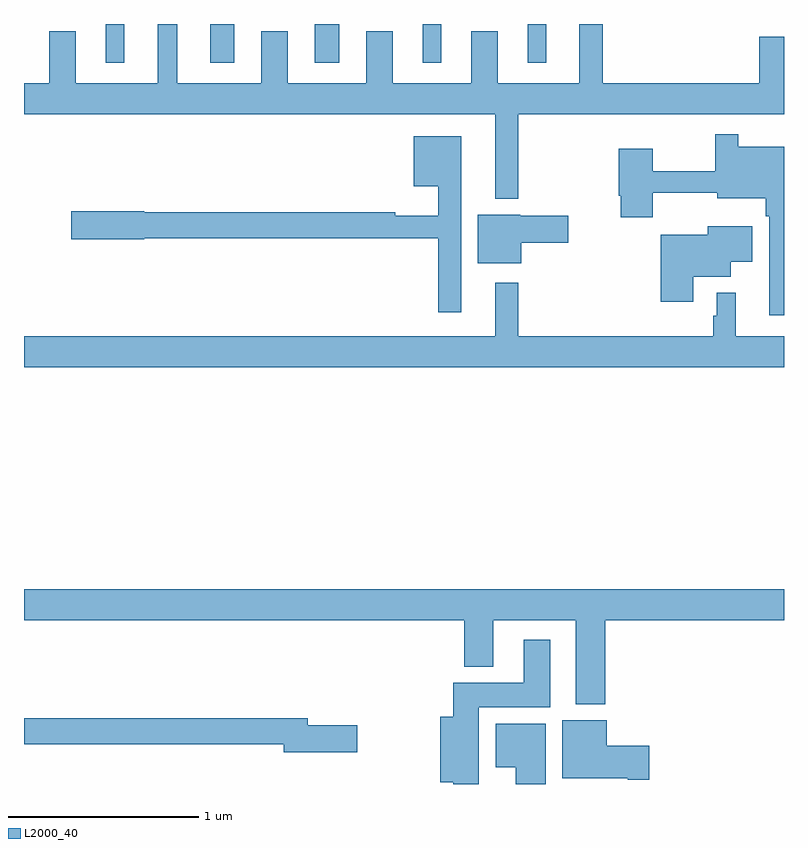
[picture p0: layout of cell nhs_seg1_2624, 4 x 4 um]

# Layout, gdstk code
import gdstk
lib = gdstk.Library(unit=1e-6, precision=1e-09)
def R(c, l, rs):  # rectangles x0, y0, x1, y1
    for r in rs: c.add(gdstk.rectangle(r[:2], r[2:], *l))
def P(c, l, *ps):  # polygons
    for p in ps: c.add(gdstk.Polygon(p, *l))
L2000_40 = (2000, 40)

nhs_seg1_2624 = lib.new_cell('nhs_seg1_2624')
R(nhs_seg1_2624, L2000_40, [(253.43,559.995,253.528,560.199), (253.979,559.995,254.107,560.199), (254.531,559.995,254.659,560.199), (255.098,559.995,255.196,560.199), (255.65,559.995,255.748,560.199)])
P(nhs_seg1_2624, L2000_40, [(255.479,559.28),(255.601,559.28),(255.601,559.724),(257,559.724),(257,560.131),(256.871,560.131),(256.871,559.888),(256.045,559.888),(256.045,560.199),(255.923,560.199),(255.923,559.888),(255.493,559.888),(255.493,560.161),(255.353,560.161),(255.353,559.888),(254.941,559.888),(254.941,560.161),(254.801,560.161),(254.801,559.888),(254.389,559.888),(254.389,560.161),(254.249,560.161),(254.249,559.888),(253.807,559.888),(253.807,560.199),(253.703,560.199),(253.703,559.888),(253.273,559.888),(253.273,560.161),(253.133,560.161),(253.133,559.888),(253,559.888),(253,559.724),(255.479,559.724)],
  [(257,559.552),(256.759,559.552),(256.759,559.618),(256.638,559.618),(256.638,559.423),(256.308,559.423),(256.308,559.543),(256.13,559.543),(256.13,559.294),(256.142,559.294),(256.142,559.182),(256.308,559.182),(256.308,559.312),(256.649,559.312),(256.649,559.283),(256.903,559.283),(256.903,559.187),(256.923,559.187),(256.923,558.666),(257,558.666)],
  [(255.301,559.609),(255.05,559.609),(255.05,559.346),(255.18,559.346),(255.18,559.189),(254.954,559.189),(254.954,559.208),(253.632,559.208),(253.632,559.214),(253.248,559.214),(253.248,559.067),(253.632,559.067),(253.632,559.072),(255.18,559.072),(255.18,558.681),(255.301,558.681)],
  [(255.616,559.048),(255.865,559.048),(255.865,559.19),(255.612,559.19),(255.612,559.195),(255.389,559.195),(255.389,558.941),(255.616,558.941)],
  [(256.522,558.869),(256.72,558.869),(256.72,558.947),(256.834,558.947),(256.834,559.135),(256.598,559.135),(256.598,559.09),(256.352,559.09),(256.352,558.738),(256.522,558.738)],
  [(257,558.556),(256.745,558.556),(256.745,558.784),(256.647,558.784),(256.647,558.663),(256.627,558.663),(256.627,558.556),(255.601,558.556),(255.601,558.838),(255.479,558.838),(255.479,558.556),(253,558.556),(253,558.392),(257,558.392)],
  [(256.058,557.06),(257,557.06),(257,557.224),(253,557.224),(253,557.06),(255.317,557.06),(255.317,556.817),(255.469,556.817),(255.469,557.06),(255.905,557.06),(255.905,556.619),(256.058,556.619)],
  [(255.394,556.604),(255.769,556.604),(255.769,556.957),(255.629,556.957),(255.629,556.732),(255.26,556.732),(255.26,556.552),(255.191,556.552),(255.191,556.208),(255.26,556.208),(255.26,556.199),(255.394,556.199)],
  [(254.755,556.508),(254.494,556.508),(254.494,556.544),(253,556.544),(253,556.408),(254.366,556.408),(254.366,556.366),(254.755,556.366)],
  [(256.291,556.4),(256.066,556.4),(256.066,556.534),(255.833,556.534),(255.833,556.229),(256.178,556.229),(256.178,556.222),(256.291,556.222)],
  [(255.745,556.516),(255.482,556.516),(255.482,556.286),(255.587,556.286),(255.587,556.199),(255.745,556.199)])

lib.write_gds('nhs_seg1_2624.gds')
